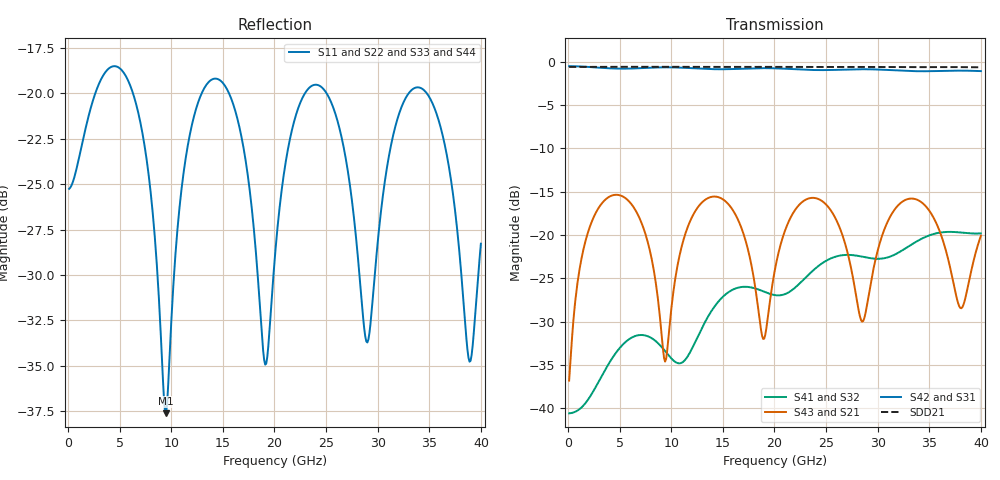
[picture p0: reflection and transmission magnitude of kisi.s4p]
! thru_BV_ts_m2_per0_out: 2×thru In3.Cu, 8 mm, pair
! stackup: as the board case
! ports: 1 near, 2 near, 3 far, 4 far
! kisi-fdtd, conformal, dfine 0.035 mm, 392448 cells
# Hz S RI R 50
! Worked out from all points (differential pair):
!   400 points, 100 MHz to 40 GHz, reference 50 ohm
!   strongest paths, dB at 100 MHz, 10.1 GHz, 20.1 GHz, 30.1 GHz, 40 GHz:
!     S42: -0.5, -0.7, -0.8, -0.9, -1.1
!     S31: -0.5, -0.7, -0.8, -0.9, -1.1
!     S43: -36.8, -27.5, -23.7, -21.4, -20.1
!     S21: -36.8, -27.5, -23.7, -21.4, -20.1
!     S41: -40.6, -34.4, -27.0, -22.8, -19.8
!     S32: -40.6, -34.4, -27.0, -22.8, -19.8
!   taken as a pair (ports 2,1 in; 4,3 out), SDD21 dB: -0.6, -0.6, -0.6, -0.6, -0.7
!   lowest |S11| = -37.6 dB at 9.5 GHz (marker M1), VSWR 1.03, Z = 51.3 + j0.313 ohm
!   |S11| at or under -10 dB: start of sweep to end of sweep
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1e8  -0.0543 0.00561  0.0134 0.00527  0.941 -0.033  0.00928 -0.00109
     0.0134 0.00527  -0.0543 0.00561  0.00928 -0.00109  0.941 -0.033
     0.941 -0.033  0.00928 -0.00109  -0.0543 0.00561  0.0134 0.00527
     0.00928 -0.00109  0.941 -0.033  0.0134 0.00527  -0.0543 0.00561
4.4e9  0.1072 0.0513  0.1693 0.0124  0.057 -0.9113  -0.00284 0.0197
       0.1693 0.0124  0.1072 0.0513  -0.00284 0.0197  0.057 -0.9113
       0.057 -0.9113  -0.00284 0.0197  0.1072 0.0513  0.1693 0.0124
       -0.00284 0.0197  0.057 -0.9113  0.1693 0.0124  0.1072 0.0513
9.5e9  0.0128 0.00305  0.0189 0.00359  -0.9231 0.0863  0.00445 -0.0205
       0.0189 0.00359  0.0128 0.00305  0.00445 -0.0205  -0.9231 0.0863
       -0.9231 0.0863  0.00445 -0.0205  0.0128 0.00305  0.0189 0.00359
       0.00445 -0.0205  -0.9231 0.0863  0.0189 0.00359  0.0128 0.00305
1.81e10  0.0279 -0.0278  0.0318 -0.0404  0.9084 0.1153  -0.0222 0.0439
         0.0318 -0.0404  0.0279 -0.0278  -0.0222 0.0439  0.9084 0.1153
         0.9084 0.1153  -0.0222 0.0439  0.0279 -0.0278  0.0318 -0.0404
         -0.0222 0.0439  0.9084 0.1153  0.0318 -0.0404  0.0279 -0.0278
2.75e10  0.0352 -0.0367  0.0387 -0.0471  -0.9006 -0.0553  0.0315 -0.0697
         0.0387 -0.0471  0.0352 -0.0367  0.0315 -0.0697  -0.9006 -0.0553
         -0.9006 -0.0553  0.0315 -0.0697  0.0352 -0.0367  0.0387 -0.0471
         0.0315 -0.0697  -0.9006 -0.0553  0.0387 -0.0471  0.0352 -0.0367
3.28e10  0.0971 0.0143  0.16 -0.00938  0.1708 0.8673  -0.0798 -0.0276
         0.16 -0.00938  0.0971 0.0143  -0.0798 -0.0276  0.1708 0.8673
         0.1708 0.8673  -0.0798 -0.0276  0.0971 0.0143  0.16 -0.00938
         -0.0798 -0.0276  0.1708 0.8673  0.16 -0.00938  0.0971 0.0143
4e10  0.0322 0.0212  0.0916 0.0371  0.4037 -0.7838  0.0642 0.0793
      0.0916 0.0371  0.0322 0.0212  0.0642 0.0793  0.4037 -0.7838
      0.4037 -0.7838  0.0642 0.0793  0.0322 0.0212  0.0916 0.0371
      0.0642 0.0793  0.4037 -0.7838  0.0916 0.0371  0.0322 0.0212
